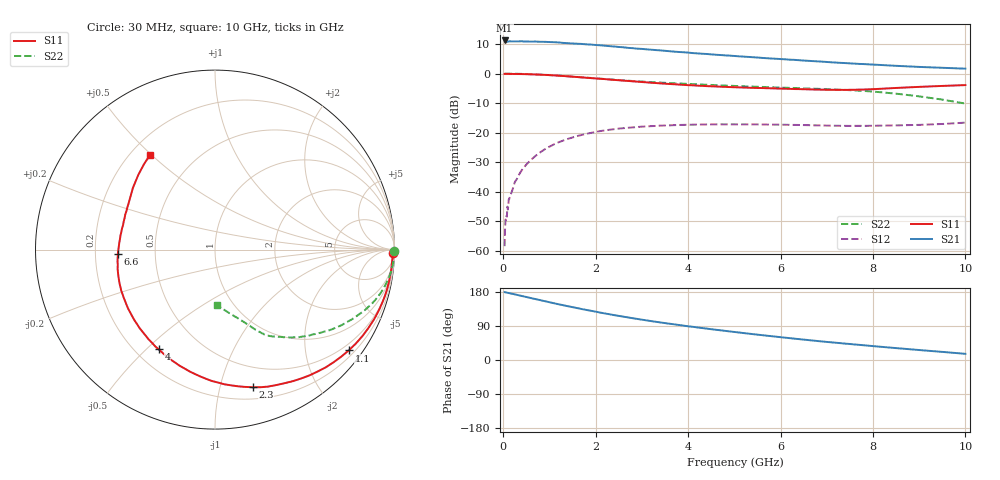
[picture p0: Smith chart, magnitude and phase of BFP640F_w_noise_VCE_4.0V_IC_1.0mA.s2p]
! Infineon Technologies  Discrete & RF Semiconductors
! BFP640F
! VCE =  4.0 V,  IC =  1.0 mA
! Common Emitter S-Parameters:  Apr 2013
# GHz  S  MA  R  50
!  f  S11  S21  S12  S22
! GHz  MAG  ANG  MAG  ANG  MAG  ANG  MAG  ANG
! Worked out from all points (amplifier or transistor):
!   99 points, 30 MHz to 10 GHz, reference 50 ohm
!   highest |S21| = 11.2 dB at 30 MHz (marker M1)
!   |S21| within 3 dB of that: start of sweep to 3.094 GHz
!   unconditionally stable (mu >= 1): 6.368 GHz to end of sweep
!   at 350 MHz: K = -0.01, MSG = 22.5 dB, |S12| = -34.0 dB
!   at 3.5 GHz: K = 0.53, MSG = 12.6 dB, |S12| = -17.6 dB
!   at 10 GHz: K = 1.38, MAG = 5.5 dB, |S12| = -16.6 dB
!   lowest NFmin = 0.52 dB at 450 MHz
!   S11 on the Smith chart (normalised r, x): 30 MHz: open; 1.1 GHz: 0.34, -2.95; 2.3 GHz: 0.30, -1.26; 4 GHz: 0.29, -0.55; 6.6 GHz: 0.30, -0.02; 10 GHz: 0.28, +0.49
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0.03  0.9903 -1.0  3.644 179.1  0.0012 79.9  0.9994 -0.5
0.04  0.9909 -1.4  3.445 178.9  0.0024 84.3  0.9982 -0.6
0.05  0.9914 -1.7  3.469 178.8  0.0034 100.4  0.9995 -0.8
0.08  0.9895 -2.7  3.475 177.7  0.0038 90.1  0.9992 -1.3
0.09  0.9908 -3.0  3.488 177.5  0.0056 94.8  0.9982 -1.5
0.1  0.9892 -3.3  3.471 177.3  0.005 89.9  0.9971 -1.7
0.12  0.9885 -4.0  3.503 176.7  0.0075 83.6  0.9983 -2.0
0.25  0.9863 -8.4  3.516 173.2  0.0145 87.2  0.995 -4.2
0.4  0.9832 -13.5  3.531 169.0  0.0231 83.7  0.9893 -6.7
0.6  0.9739 -20.2  3.483 163.4  0.0347 80.4  0.9781 -9.9
1.1  0.9332 -37.0  3.403 149.7  0.0636 69.3  0.9349 -17.6
1.7  0.8631 -56.4  3.182 134.4  0.0917 56.6  0.8667 -25.7
2.3  0.7949 -74.7  2.92 120.7  0.1122 45.6  0.7998 -33.0
2.9  0.7324 -91.3  2.647 108.4  0.1247 36.8  0.7426 -38.8
3.4  0.6833 -104.5  2.475 99.1  0.1317 30.9  0.7058 -42.9
4  0.638 -119.4  2.268 89.0  0.1364 25.1  0.6704 -46.7
5.1  0.5854 -145.6  1.964 72.6  0.1383 17.6  0.6144 -52.4
6  0.558 -164.8  1.765 60.2  0.1366 13.6  0.5814 -56.3
6.6  0.5416 -177.3  1.648 52.6  0.1341 12.2  0.5599 -58.7
6.7  0.5393 -179.4  1.629 51.3  0.1336 12.0  0.5561 -59.0
8.5  0.5721 143.1  1.356 31.4  0.133 15.0  0.458 -66.2
10  0.6397 124.5  1.213 16.3  0.1481 18.7  0.3112 -87.6
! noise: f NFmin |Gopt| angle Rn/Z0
0.45  0.52  0.75  11  0.34
0.9  0.69  0.71  23  0.33
1.5  0.87  0.7  32  0.32
1.9  0.98  0.65  47  0.31
2.4  1.13  0.64  66  0.3
3.5  1.33  0.56  84  0.28
5.5  1.77  0.48  144  0.26
10  2.96  0.61  -113  0.48
